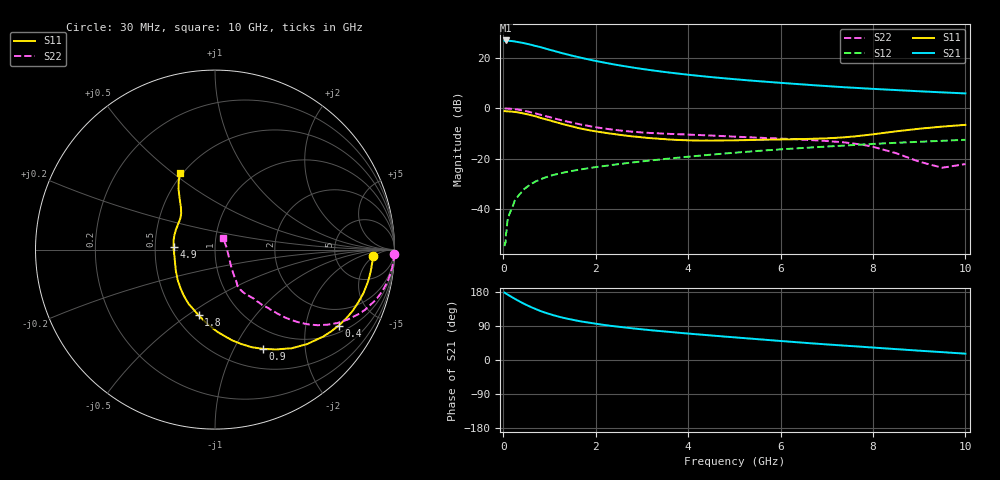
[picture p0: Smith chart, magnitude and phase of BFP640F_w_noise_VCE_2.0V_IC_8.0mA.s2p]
! Infineon Technologies  Discrete & RF Semiconductors
! BFP640F
! VCE =  2.0 V,  IC =  8.0 mA
! Common Emitter S-Parameters:  Apr 2013
# GHz  S  MA  R  50
!  f  S11  S21  S12  S22
! GHz  MAG  ANG  MAG  ANG  MAG  ANG  MAG  ANG
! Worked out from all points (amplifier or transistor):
!   99 points, 30 MHz to 10 GHz, reference 50 ohm
!   highest |S21| = 27.1 dB at 50 MHz (marker M1)
!   |S21| within 3 dB of that: start of sweep to 873.4 MHz
!   unconditionally stable (mu >= 1): 3.48 GHz to end of sweep
!   at 350 MHz: K = 0.16, MSG = 30.3 dB, |S12| = -34.3 dB
!   at 3.5 GHz: K = 1.00, MAG = 17.1 dB, |S12| = -20.1 dB
!   at 10 GHz: K = 1.08, MAG = 7.5 dB, |S12| = -12.5 dB
!   lowest NFmin = 0.59 dB at 450 MHz
!   S11 on the Smith chart (normalised r, x): 30 MHz: 14, -5; 400 MHz: 1.25, -3.07; 900 MHz: 0.74, -1.31; 1.8 GHz: 0.65, -0.55; 4.9 GHz: 0.63, +0.02; 10 GHz: 0.48, +0.53
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0.03  0.8826 -2.4  22.29 177.7  0.0018 79.3  0.9975 -1.4
0.04  0.881 -3.2  22.29 177.0  0.0021 89.8  0.9961 -1.9
0.05  0.8799 -4.1  22.63 176.3  0.0021 92.3  0.9968 -2.4
0.1  0.8759 -8.2  22.45 172.4  0.0063 85.7  0.9927 -5.2
0.25  0.8506 -20.2  21.61 161.5  0.0146 80.7  0.966 -12.8
0.4  0.8085 -31.6  20.41 151.6  0.0216 75.9  0.9175 -19.7
0.5  0.7733 -38.8  19.52 145.4  0.0267 72.7  0.8803 -23.9
0.6  0.7352 -45.7  18.58 139.7  0.0311 70.0  0.8381 -27.6
0.8  0.6523 -58.5  16.73 129.5  0.0384 65.0  0.7521 -33.8
0.9  0.6145 -64.2  15.78 125.2  0.0418 63.4  0.7098 -36.4
1.1  0.545 -74.6  13.99 117.7  0.0477 60.4  0.6346 -40.2
1.3  0.4841 -83.8  12.48 111.4  0.0525 58.2  0.5706 -43.0
1.7  0.3934 -100.3  10.16 101.5  0.0614 55.7  0.4743 -46.4
1.8  0.3774 -104.0  9.675 99.6  0.0635 55.4  0.4574 -47.2
2.1  0.3383 -115.2  8.496 93.9  0.0696 54.3  0.4082 -49.4
2.5  0.2989 -127.7  7.258 87.7  0.0778 53.2  0.3664 -51.0
3.4  0.2477 -151.9  5.466 76.3  0.0963 51.2  0.317 -54.0
4.9  0.2309 176.9  3.9 60.8  0.1289 46.7  0.2773 -57.0
5.1  0.2324 173.2  3.761 58.8  0.1331 46.0  0.2719 -57.3
6.7  0.2487 146.6  2.912 43.7  0.1674 39.1  0.2332 -58.0
8.5  0.3496 124.4  2.323 28.7  0.2066 30.6  0.1285 -45.9
10  0.4708 114.3  1.992 16.7  0.2372 22.8  0.0779 53.7
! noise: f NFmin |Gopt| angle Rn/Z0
0.45  0.59  0.27  8  0.06
0.9  0.59  0.26  20  0.07
1.5  0.62  0.25  28  0.08
1.9  0.63  0.23  41  0.09
2.4  0.67  0.2  55  0.09
3.5  0.76  0.17  82  0.11
5.5  0.97  0.15  168  0.14
10  1.57  0.41  -101  0.33
